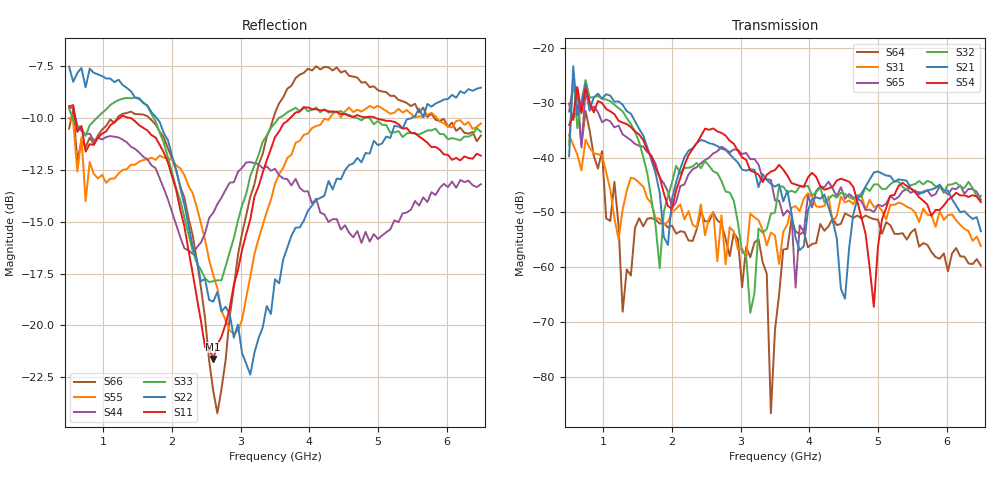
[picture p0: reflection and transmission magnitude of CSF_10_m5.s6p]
!Keysight Technologies,M9804A,MY58100912,A.14.10.03
!Date: Thursday, April 27, 2023 10:28:33
!Correction: S11(C  6-Port  )
!S12(C  6-Port  )
!S13(C  6-Port  )
!S14(C  6-Port  )
!S15(C  6-Port  )
!S16(C  6-Port  )
!S21(C  6-Port  )
!S22(C  6-Port  )
!S23(C  6-Port  )
!S24(C  6-Port  )
!S25(C  6-Port  )
!S26(C  6-Port  )
!S31(C  6-Port  )
!S32(C  6-Port  )
!S33(C  6-Port  )
!S34(C  6-Port  )
!S35(C  6-Port  )
!S36(C  6-Port  )
!S41(C  6-Port  )
!S42(C  6-Port  )
!S43(C  6-Port  )
!S44(C  6-Port  )
!S45(C  6-Port  )
!S46(C  6-Port  )
!S51(C  6-Port  )
!S52(C  6-Port  )
!S53(C  6-Port  )
!S54(C  6-Port  )
!S55(C  6-Port  )
!S56(C  6-Port  )
!S61(C  6-Port  )
!S62(C  6-Port  )
!S63(C  6-Port  )
!S64(C  6-Port  )
!S65(C  6-Port  )
!S66(C  6-Port  )
!S6P File: Measurement: :
# Hz S  RI  R 50
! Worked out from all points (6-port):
!   101 points, 500 MHz to 6.5 GHz, reference 50 ohm
!   strongest paths, dB at 500 MHz, 2 GHz, 3.5 GHz, 5 GHz, 6.5 GHz:
!     S54: -34.0, -49.4, -42.3, -56.3, -48.1
!     S21: -39.7, -47.5, -45.3, -42.5, -53.4
!     S32: -37.6, -44.5, -50.0, -44.9, -47.0
!     S65: -31.6, -49.1, -47.8, -48.6, -47.7
!     S31: -35.9, -50.0, -54.2, -48.8, -56.1
!     S64: -30.1, -52.4, -71.4, -51.3, -59.7
!   lowest |S11| = -21.6 dB at 2.6 GHz (marker M1), VSWR 1.18, Z = 42.6 + j2.05 ohm
!   |S11| at or under -10 dB: 589.1 MHz to 1.234 GHz (644.6 MHz wide, 70.7 % of centre); 1.402 GHz to 3.72 GHz (2.318 GHz wide, 90.5 % of centre); 4.973 GHz to end of sweep
